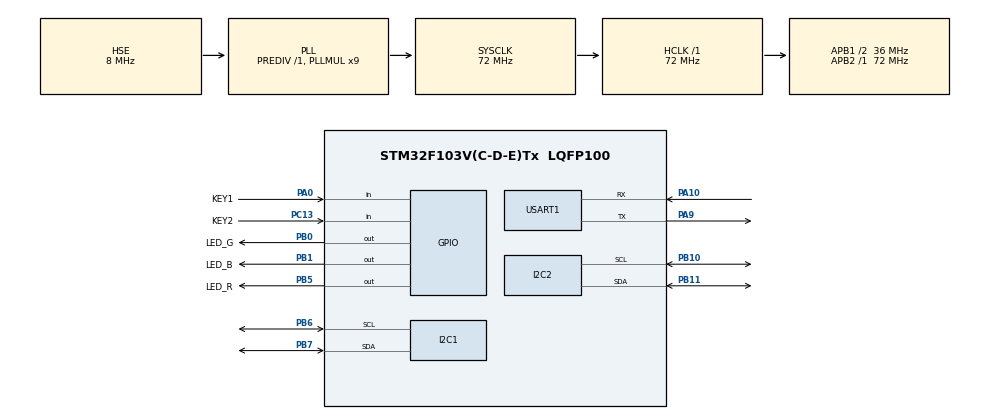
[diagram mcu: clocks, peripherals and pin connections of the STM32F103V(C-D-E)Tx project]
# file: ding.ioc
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Mcu.Family=STM32F1
Mcu.Name=STM32F103V(C-D-E)Tx
Mcu.Package=LQFP100
NVIC.PriorityGroup=NVIC_PRIORITYGROUP_4
NVIC.TIM2_IRQn=true\:0\:0\:false\:false\:true\:false\:true
NVIC.TimeBase=TIM2_IRQn
NVIC.TimeBaseIP=TIM2
NVIC.USART1_IRQn=true\:5\:0\:true\:false\:true\:true\:true
OSC_IN.Mode=HSE-External-Oscillator
OSC_IN.Signal=RCC_OSC_IN
OSC_OUT.Mode=HSE-External-Oscillator
OSC_OUT.Signal=RCC_OSC_OUT
PA0-WKUP.GPIO_Label=KEY1
PA0-WKUP.Signal=GPIO_Input
PA10.Mode=Asynchronous
PA10.Signal=USART1_RX
PA13.Mode=Serial_Wire
PA13.Signal=SYS_JTMS-SWDIO
PA14.Mode=Serial_Wire
PA14.Signal=SYS_JTCK-SWCLK
PA9.Mode=Asynchronous
PA9.Signal=USART1_TX
PB0.GPIO_Label=LED_G
PB0.GPIO_Speed=GPIO_SPEED_FREQ_HIGH
PB0.PinState=GPIO_PIN_SET
PB0.Signal=GPIO_Output
PB1.GPIO_Label=LED_B
PB1.GPIO_Speed=GPIO_SPEED_FREQ_HIGH
PB1.PinState=GPIO_PIN_SET
PB1.Signal=GPIO_Output
PB10.Mode=I2C
PB10.Signal=I2C2_SCL
PB11.Mode=I2C
PB11.Signal=I2C2_SDA
PB5.GPIO_Label=LED_R
PB5.GPIO_Speed=GPIO_SPEED_FREQ_HIGH
PB5.PinState=GPIO_PIN_SET
PB5.Signal=GPIO_Output
PB6.Mode=I2C
PB6.Signal=I2C1_SCL
PB7.Mode=I2C
PB7.Signal=I2C1_SDA
PC13-TAMPER-RTC.GPIO_Label=KEY2
PC13-TAMPER-RTC.Signal=GPIO_Input
ProjectManager.HeapSize=0x0
ProjectManager.StackSize=0x400
ProjectManager.TargetToolchain=MDK-ARM V5
RCC.AHBFreq_Value=72000000
RCC.APB1CLKDivider=RCC_HCLK_DIV2
RCC.APB1Freq_Value=36000000
RCC.APB1TimFreq_Value=72000000
RCC.APB2Freq_Value=72000000
RCC.APB2TimFreq_Value=72000000
RCC.HCLKFreq_Value=72000000
RCC.PLLMUL=RCC_PLL_MUL9
RCC.PLLSourceVirtual=RCC_PLLSOURCE_HSE
RCC.SYSCLKFreq_VALUE=72000000
RCC.SYSCLKSource=RCC_SYSCLKSOURCE_PLLCLK
RCC.USBFreq_Value=72000000
USART1.VirtualMode=VM_ASYNC
VP_SYS_VS_tim2.Mode=TIM2
board=custom

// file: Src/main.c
/* USER CODE BEGIN Header */
/**
  ******************************************************************************
  * @file           : main.c
  * @brief          : Main program body
  ******************************************************************************
  * @attention
  *
  * <h2><center>&copy; Copyright (c) 2020 STMicroelectronics.
  * All rights reserved.</center></h2>
  *
  * This software component is licensed by ST under BSD 3-Clause license,
  * the "License"; You may not use this file except in compliance with the
  * License. You may obtain a copy of the License at:
  *                        opensource.org/licenses/BSD-3-Clause
  *
  ******************************************************************************
  */
/* USER CODE END Header */

#include "main.h"
#include "i2c.h"
#include "usart.h"
#include "gpio.h"

/* USER CODE BEGIN Includes */
#include "bsp_led.h"
#include "bsp_key.h"
#include "bsp_usart.h"

#include "FreeRTOS.h"
#include "task.h"
#include "queue.h"

#include <string.h>

/* USER CODE END Includes */

void SystemClock_Config(void);
/* USER CODE BEGIN PFP */
void start_task(void *pvParameters);
void key_task(void *pvParameters);
void print_task(void *pvParameters);
void usart_task(void *pvParameters);

/* USER CODE END PFP */

/* USER CODE BEGIN 0 */

/* 任务相关参数 */
#define START_TASK_SIZE   128
#define START_TASK_PRIO   1
TaskHandle_t start_Task_Handle;

#define KEY_TASK_SIZE     128
#define KEY_TASK_PRIO     2
TaskHandle_t key_task_Handle;

#define PRINT_TASK_SIZE   128
#define PRINT_TASK_PRIO   3
TaskHandle_t print_task_Handle;

#define USART_TASK_SIZE   128
#define USART_TASK_PRIO   3
TaskHandle_t usart_task_Handle;

/* 队列相关参数 */
QueueHandle_t key_queue;
QueueHandle_t usart_queue;

uint8_t RX_BUFFER[USART_QUEUE_LEN];     // 串口接收缓冲区
uint8_t TX_BUFFER[USART_QUEUE_LEN];     // 串口发送缓冲区

/* USER CODE END 0 */

int main(void)
{

  /* MCU Configuration--------------------------------------------------------*/

  /* Reset of all peripherals, Initializes the Flash interface and the Systick. */
  HAL_Init();

  /* Configure the system clock */
  SystemClock_Config();

  /* Initialize all configured peripherals */
  MX_GPIO_Init();
  MX_USART1_UART_Init();
  MX_I2C1_Init();
  MX_I2C2_Init();
  /* USER CODE BEGIN 2 */

  // 使能串口接收中断和空闲中断，并清除标志位
  __HAL_UART_CLEAR_FLAG(&huart1, UART_FLAG_IDLE);
  __HAL_UART_CLEAR_FLAG(&huart1, UART_FLAG_RXNE);
  __HAL_UART_ENABLE_IT(&huart1, UART_IT_IDLE);
  __HAL_UART_ENABLE_IT(&huart1, UART_IT_RXNE);

  // 创建开始任务
  xTaskCreate((TaskFunction_t )start_task,
              (char *         )"start_task",
              (uint16_t       )START_TASK_SIZE,
              (void *         )NULL,
              (UBaseType_t    )START_TASK_PRIO,
              (TaskHandle_t * )&start_Task_Handle);

  vTaskStartScheduler(); // 开启调度器

  /* USER CODE END 2 */

  /* Infinite loop */
  while (1)
  {

  }
}

void SystemClock_Config(void)
{
  RCC_OscInitTypeDef RCC_OscInitStruct = {0};
  RCC_ClkInitTypeDef RCC_ClkInitStruct = {0};

  /** Initializes the CPU, AHB and APB busses clocks
  */
  RCC_OscInitStruct.OscillatorType = RCC_OSCILLATORTYPE_HSE;
  RCC_OscInitStruct.HSEState = RCC_HSE_ON;
  RCC_OscInitStruct.HSEPredivValue = RCC_HSE_PREDIV_DIV1;
  RCC_OscInitStruct.HSIState = RCC_HSI_ON;
  RCC_OscInitStruct.PLL.PLLState = RCC_PLL_ON;
  RCC_OscInitStruct.PLL.PLLSource = RCC_PLLSOURCE_HSE;
  RCC_OscInitStruct.PLL.PLLMUL = RCC_PLL_MUL9;
  if (HAL_RCC_OscConfig(&RCC_OscInitStruct) != HAL_OK)
  {
    Error_Handler();
  }
  /** Initializes the CPU, AHB and APB busses clocks
  */
  RCC_ClkInitStruct.ClockType = RCC_CLOCKTYPE_HCLK | RCC_CLOCKTYPE_SYSCLK | RCC_CLOCKTYPE_PCLK1 | RCC_CLOCKTYPE_PCLK2;
  RCC_ClkInitStruct.SYSCLKSource = RCC_SYSCLKSOURCE_PLLCLK;
  RCC_ClkInitStruct.AHBCLKDivider = RCC_SYSCLK_DIV1;
  RCC_ClkInitStruct.APB1CLKDivider = RCC_HCLK_DIV2;
  RCC_ClkInitStruct.APB2CLKDivider = RCC_HCLK_DIV1;

  if (HAL_RCC_ClockConfig(&RCC_ClkInitStruct, FLASH_LATENCY_2) != HAL_OK)
  {
    Error_Handler();
  }
}

/* USER CODE BEGIN 4 */

void start_task(void *pvParameters)
{
  taskENTER_CRITICAL();

  /* 创建按键队列 */
  key_queue = xQueueCreate(1, sizeof(uint8_t));
  if (key_queue == NULL)
  {
    printf("按键队列创建失败!\n");
  }

  /* 创建串口消息队列 */
  usart_queue = xQueueCreate(USART_QUEUE_DEPTH, USART_QUEUE_LEN);
  if (usart_queue == NULL)
  {
    printf("串口消息队列创建失败!\n");
  }

  // 创建按键任务
  xTaskCreate((TaskFunction_t )key_task,
              (char *         )"key_task",
              (uint16_t       )KEY_TASK_SIZE,
              (void *         )NULL,
              (UBaseType_t    )KEY_TASK_PRIO,
              (TaskHandle_t * )&key_task_Handle);
  // 创建消息处理任务
  xTaskCreate((TaskFunction_t )print_task,
              (char *         )"print_task",
              (uint16_t       )PRINT_TASK_SIZE,
              (void *         )NULL,
              (UBaseType_t)PRINT_TASK_PRIO,
              (TaskHandle_t * )&print_task_Handle);
  // 创建串口队列任务
  xTaskCreate((TaskFunction_t )usart_task,
              (char *         )"usart_task",
              (uint16_t       )USART_TASK_SIZE,
              (void *         )NULL,
              (UBaseType_t    )USART_TASK_PRIO,
              (TaskHandle_t * )&usart_task_Handle);

  taskEXIT_CRITICAL();
  // 删除开始任务
  vTaskDelete(start_Task_Handle);
}

void key_task(void *pvParameters)
{
  uint8_t key_value;
  BaseType_t error_value;
  for (;;)
  {
    if (key_scan(KEY1_GPIO_Port, KEY1_Pin) == KEY_ON)
    {
      key_value = 1;
      if (key_queue != NULL)
      {
        // error_value = xQueueSendToBack(key_queue, &key_value, 10);  // 发送键值至队列
        error_value = xQueueOverwrite(key_queue, &key_value);    // 覆盖发送键值至队列
        if (error_value == errQUEUE_FULL)
        {
          printf("按键队列已满，消息发送失败!\n");
        }
      }
    }
    if (key_scan(KEY2_GPIO_Port, KEY2_Pin) == KEY_ON)
    {
      key_value = 2;
      if (key_queue != NULL)
      {
        error_value = xQueueSendToBack(key_queue, &key_value, 10);  // 发送键值至队列
        if (error_value == errQUEUE_FULL)
        {
          printf("按键队列已满，消息发送失败!\n");
        }
      }
    }
    vTaskDelay(50);
  }
}

void print_task(void *pvParameters)
{
  uint8_t rx_key_value;
  BaseType_t rx_queue_state;
  for (;;)
  {
    if (key_queue != NULL)
    {
      // 等待从队列中读取数据
      rx_queue_state = xQueueReceive(key_queue, &rx_key_value, portMAX_DELAY);
      if (rx_queue_state == pdTRUE)
      {
        printf("key_value = %d\n", rx_key_value);
        switch (rx_key_value)
        {
        case 1:
          LED_RED;
          break;

        case 2:
          LED_BLUE;
          break;

        default:
          LED_ALL_OFF;
          break;
       }
      }
    }
    vTaskDelay(50);
  }
}

void usart_task(void *pvParameters)
{

  BaseType_t rx_queue_state;
  for (; ;)
  {
    if (usart_queue != NULL)
    {
      // 等待从串口消息队列中读取数据
      rx_queue_state = xQueueReceive(usart_queue, TX_BUFFER, portMAX_DELAY);
      if (rx_queue_state == pdTRUE)
      {
        printf("%s\n", TX_BUFFER);
        memset(TX_BUFFER, 0, USART_QUEUE_LEN);
      }
    }
    vTaskDelay(50);
  }
}

/* USER CODE END 4 */

void HAL_TIM_PeriodElapsedCallback(TIM_HandleTypeDef *htim)
{
  if (htim->Instance == TIM2)
  {
    HAL_IncTick();
  }
}

void Error_Handler(void)
{
}

/************************ (C) COPYRIGHT STMicroelectronics *****END OF FILE****/
